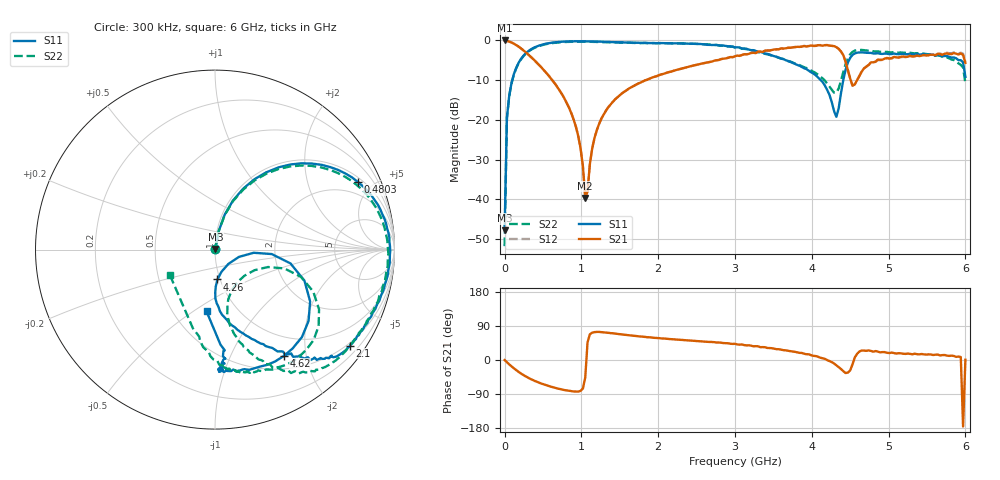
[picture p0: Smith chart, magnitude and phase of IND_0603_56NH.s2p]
# Hz S RI R 50
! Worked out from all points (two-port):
!   201 points, 300 kHz to 6 GHz, reference 50 ohm
!   highest |S21| = -0.01 dB at 300 kHz (marker M1); lowest = -39.7 dB at 1.05 GHz (marker M2)
!   |S21| within 3 dB of the highest: start of sweep to 276.9 MHz; 3.285 GHz to 4.387 GHz (1.103 GHz wide, 28.7 % of centre)
!   lowest |S11| = -47.8 dB at 300 kHz (marker M3), VSWR 1.01, Z = 50.3 + j0.299 ohm
!   |S11| at or under -10 dB: start of sweep to 100.2 MHz; 4.116 GHz to 4.41 GHz (294 MHz wide, 6.9 % of centre)
!   |S22| runs from -51.8 to -0.3 dB; largest |S21 - S12| = 0.027
!   S11 on the Smith chart (normalised r, x): 300 kHz: 1.01, +0.01; 480.3 MHz: 1.22, +4.09; 2.1 GHz: 0.43, -3.08; 4.26 GHz: 0.97, -0.33; 4.62 GHz: 0.69, -1.62; 6 GHz: 0.72, -0.57
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300000  0.00278 0.00297  0.9994 -0.00232  0.996 -0.00169  0.000351 0.00254
3.02985e7  0.0208 0.1039  0.9798 -0.1031  0.9797 -0.1032  0.0204 0.1024
9.02955e7  0.1001 0.2733  0.9016 -0.2725  0.9014 -0.2728  0.0998 0.2694
4.80276e8  0.7951 0.3773  0.2122 -0.4044  0.2127 -0.4038  0.7907 0.3593
8.40258e8  0.9715 0.0673  0.021 -0.1399  0.0209 -0.1401  0.9603 0.0485
1.020249e9  0.9736 -0.0728  0.00664 -0.0248  0.00649 -0.025  0.9625 -0.0892
1.050248e9  0.9694 -0.0966  0.00721 -0.00748  0.00718 -0.00761  0.9586 -0.1117
1.170242e9  0.9514 -0.1793  0.0166 0.0565  0.0168 0.0564  0.9397 -0.1907
1.320234e9  0.9216 -0.2669  0.0391 0.1246  0.0392 0.1243  0.9123 -0.2743
2.0102e9  0.7687 -0.5174  0.195 0.309  0.1946 0.3083  0.7536 -0.5348
2.100195e9  0.7526 -0.5347  0.2154 0.3236  0.2151 0.3227  0.7333 -0.5576
3.00015e9  0.5545 -0.6014  0.4638 0.4297  0.4608 0.4268  0.4496 -0.6796
4.020099e9  0.0553 -0.3796  0.8371 0.1628  0.8476 0.161  0.0773 -0.3962
4.260087e9  0.0135 -0.1666  0.8513 -0.0814  0.8517 -0.0987  0.1004 -0.2174
4.320084e9  0.0742 -0.08  0.7984 -0.1981  0.7948 -0.2077  0.1644 -0.1455
4.440078e9  0.4205 -0.0769  0.4445 -0.305  0.4457 -0.3067  0.4785 -0.1517
4.530074e9  0.5213 -0.3975  0.2639 -0.0541  0.2645 -0.056  0.5774 -0.426
4.620069e9  0.3838 -0.5924  0.3303 0.1357  0.3347 0.1297  0.4697 -0.5955
5.01005e9  0.0625 -0.6686  0.5639 0.1856  0.5601 0.1768  0.2047 -0.678
5.940003e9  0.0546 -0.5618  0.6795 0.0934  0.6957 0.0828  -0.0883 -0.4842
5.970002e9  0.0305 -0.5295  -0.6534 -0.0516  -0.6777 -0.0389  -0.1228 -0.4392
6e9  -0.0471 -0.3446  0.5214 0.00462  0.5381 -0.0135  -0.2515 -0.1415
